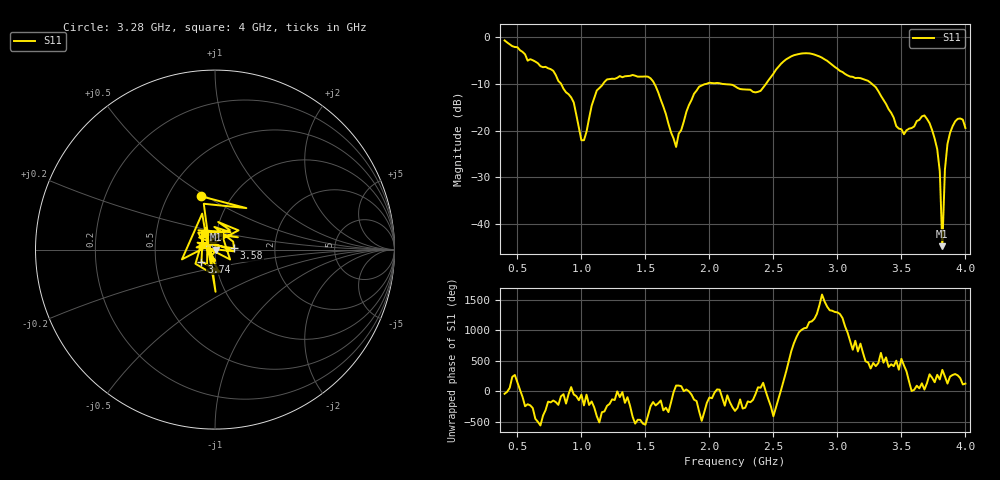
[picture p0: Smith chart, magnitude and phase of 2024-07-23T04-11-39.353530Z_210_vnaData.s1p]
!Created with skrf (http://scikit-rf.org).
# Hz S RI R 50.0
!freq ReS11 ImS11
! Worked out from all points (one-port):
!   181 points, 400 MHz to 4 GHz, reference 50 ohm
!   lowest |S11| = -44.7 dB at 3.82 GHz (marker M1), VSWR 1.01, Z = 50.6 - j0.0854 ohm
!   |S11| at or under -10 dB: 1.57 GHz to 1.981 GHz (411.4 MHz wide, 23.2 % of centre); 2.094 GHz to 2.443 GHz (349.3 MHz wide, 15.4 % of centre); 3.268 GHz to end of sweep (the widest 3 of 4)
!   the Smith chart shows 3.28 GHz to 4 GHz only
!   S11 on the Smith chart (normalised r, x): 3.28 GHz: 0.73, +0.48; 3.58 GHz: 1.24, +0.02; 3.74 GHz: 0.85, -0.12; 4 GHz: 0.87, +0.15
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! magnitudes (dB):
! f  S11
! 400 MHz  -0.8
! 780 MHz  -7.3
! 860 MHz  -11.1
! 940 MHz  -14.0
! 1 GHz  -22.1
! 1.02 GHz  -22.1
! 1.12 GHz  -11.5
! 1.3 GHz  -8.4
! 1.54 GHz  -8.8
! 1.74 GHz  -23.5
! 1.76 GHz  -20.7
! 1.92 GHz  -10.6
! 2.2 GHz  -10.5
! 2.4 GHz  -11.5
! 2.66 GHz  -3.9
! 3.1 GHz  -8.5
! 3.28 GHz  -10.3
! 3.46 GHz  -19.1
! 3.56 GHz  -19.6
! 3.58 GHz  -19.5
! 3.68 GHz  -16.8
! 3.74 GHz  -19.9
! 3.8 GHz  -28.7
! 3.82 GHz  -44.7
! 3.84 GHz  -28.3
! 3.86 GHz  -22.9
! 3.94 GHz  -17.5
! 4 GHz  -19.4
